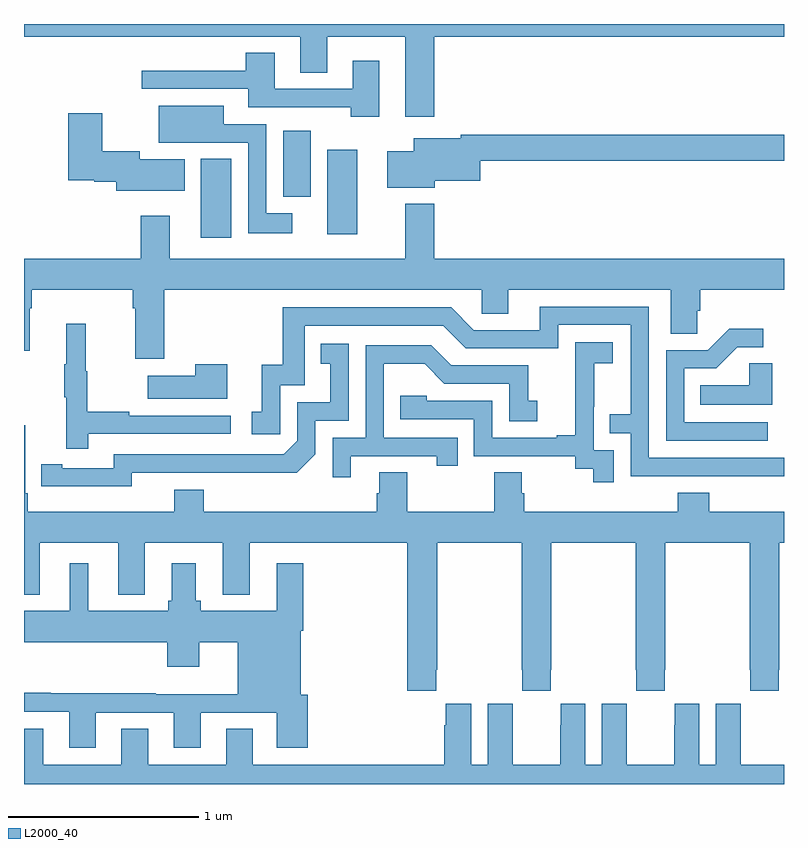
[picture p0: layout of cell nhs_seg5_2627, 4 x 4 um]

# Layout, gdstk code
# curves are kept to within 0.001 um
import gdstk
lib = gdstk.Library(unit=1e-6, precision=1e-09)
def R(c, l, rs):  # rectangles x0, y0, x1, y1
    for r in rs: c.add(gdstk.rectangle(r[:2], r[2:], *l))
def P(c, l, *ps):  # polygons
    for p in ps: c.add(gdstk.Polygon(p, *l))
L2000_40 = (2000, 40)

nhs_seg5_2627 = lib.new_cell('nhs_seg5_2627')
R(nhs_seg5_2627, L2000_40, [(263.93,883.674,264.091,884.089), (264.596,883.692,264.754,884.137), (264.365,883.889,264.508,884.236)])
P(nhs_seg5_2627, L2000_40, [(265.16,884.732),(267,884.732),(267,884.799),(263,884.799),(263,884.732),(264.455,884.732),(264.455,884.542),(264.595,884.542),(264.595,884.732),(265.007,884.732),(265.007,884.31),(265.16,884.31)],
  [(264.871,884.605),(264.731,884.605),(264.731,884.457),(264.319,884.457),(264.319,884.647),(264.167,884.647),(264.167,884.554),(263.619,884.554),(263.619,884.457),(264.179,884.457),(264.179,884.361),(264.719,884.361),(264.719,884.31),(264.871,884.31)],
  [(264.412,883.804),(264.276,883.804),(264.276,884.271),(264.052,884.271),(264.052,884.368),(263.708,884.368),(263.708,884.174),(263.934,884.174),(263.934,884.175),(264.18,884.175),(264.18,883.697),(264.412,883.697)],
  [(263.845,884.086),(263.608,884.086),(263.608,884.129),(263.412,884.129),(263.412,884.329),(263.234,884.329),(263.234,883.976),(263.37,883.976),(263.37,883.969),(263.486,883.969),(263.486,883.922),(263.845,883.922)],
  [(265.162,883.973),(265.402,883.973),(265.402,884.08),(267,884.08),(267,884.216),(265.298,884.216),(265.298,884.197),(265.052,884.197),(265.052,884.128),(264.911,884.128),(264.911,883.937),(265.162,883.937)],
  [(263.738,883.4),(265.41,883.4),(265.41,883.273),(265.549,883.273),(265.549,883.4),(266.405,883.4),(266.405,883.168),(266.544,883.168),(266.544,883.291),(266.558,883.291),(266.558,883.4),(267,883.4),(267,883.564),(265.16,883.564),(265.16,883.852),(265.007,883.852),(265.007,883.564),(263.767,883.564),(263.767,883.789),(263.615,883.789),(263.615,883.564),(263,883.564),(263,883.08),(263.029,883.08),(263.029,883.304),(263.042,883.304),(263.042,883.4),(263.573,883.4),(263.573,883.304),(263.585,883.304),(263.585,883.038),(263.738,883.038)],
  [(267,882.516),(266.289,882.516),(266.289,883.311),(265.715,883.311),(265.715,883.188),(265.368,883.188),(265.248,883.308),(264.361,883.308),(264.361,883.006),(264.251,883.006),(264.251,882.759),(264.198,882.759),(264.198,882.639),(264.348,882.639),(264.348,882.897),(264.477,882.897),(264.477,883.212),(265.206,883.212),(265.326,883.092),(265.812,883.092),(265.812,883.215),(266.193,883.215),(266.193,882.746),(266.083,882.746),(266.083,882.645),(266.193,882.645),(266.193,882.42),(267,882.419)],
  [(263.339,882.642),(264.088,882.642),(264.088,882.738),(263.555,882.738),(263.555,882.758),(263.332,882.758),(263.332,882.972),(263.324,882.972),(263.324,883.222),(263.222,883.222),(263.222,883.009),(263.211,883.009),(263.211,882.835),(263.222,882.835),(263.222,882.564),(263.339,882.564)],
  [(266.914,882.702),(266.475,882.702),(266.475,882.987),(266.644,882.987),(266.755,883.098),(266.89,883.098),(266.89,883.196),(266.711,883.196),(266.598,883.083),(266.379,883.083),(266.379,882.606),(266.914,882.606)],
  [(266.103,882.555),(265.998,882.555),(265.998,882.785),(266,882.785),(266,883.013),(266.098,883.013),(266.098,883.123),(265.9,883.123),(265.9,882.917),(265.901,882.917),(265.901,882.634),(265.805,882.634),(265.805,882.621),(265.464,882.621),(265.464,882.816),(265.119,882.816),(265.119,882.843),(264.979,882.843),(264.979,882.72),(265.368,882.72),(265.368,882.525),(265.902,882.525),(265.902,882.457),(265.995,882.457),(265.995,882.387),(266.103,882.387)],
  [(263.568,882.438),(264.436,882.437),(264.534,882.534),(264.534,882.711),(264.708,882.711),(264.708,883.117),(264.562,883.117),(264.562,883.011),(264.611,883.011),(264.611,882.807),(264.438,882.807),(264.438,882.606),(264.366,882.534),(263.472,882.534),(263.472,882.462),(263.2,882.462),(263.2,882.482),(263.092,882.482),(263.092,882.366),(263.568,882.365)],
  [(264.721,882.525),(265.172,882.525),(265.172,882.474),(265.283,882.474),(265.283,882.621),(264.894,882.621),(264.894,883.01),(265.108,883.01),(265.212,882.906),(265.554,882.906),(265.554,882.708),(265.702,882.708),(265.702,882.817),(265.653,882.817),(265.653,883.002),(265.249,883.002),(265.144,883.107),(264.798,883.107),(264.798,882.621),(264.624,882.621),(264.624,882.414),(264.721,882.414)],
  [(266.938,883.013),(266.817,883.013),(266.817,882.898),(266.56,882.898),(266.56,882.794),(266.938,882.794)],
  [(264.07,883.009),(263.9,883.009),(263.9,882.949),(263.651,882.949),(263.651,882.827),(264.07,882.827)],
  [(265.016,881.289),(265.169,881.289),(265.169,881.401),(265.176,881.401),(265.176,882.068),(265.621,882.068),(265.621,881.401),(265.623,881.401),(265.623,881.289),(265.773,881.289),(265.773,881.401),(265.776,881.401),(265.776,882.068),(266.221,882.068),(266.221,881.401),(266.223,881.401),(266.223,881.289),(266.373,881.289),(266.373,881.401),(266.376,881.401),(266.376,882.068),(266.821,882.068),(266.821,881.401),(266.823,881.401),(266.823,881.289),(266.973,881.289),(266.973,881.401),(266.976,881.401),(266.976,882.068),(267,882.068),(267,882.232),(266.606,882.232),(266.606,882.331),(266.441,882.331),(266.441,882.232),(265.634,882.232),(265.634,882.33),(265.621,882.33),(265.621,882.44),(265.474,882.44),(265.474,882.232),(265.017,882.232),(265.017,882.44),(264.869,882.44),(264.869,882.33),(264.857,882.33),(264.857,882.232),(263.945,882.232),(263.945,882.349),(263.792,882.349),(263.792,882.232),(263.021,882.232),(263.021,882.328),(263.007,882.328),(263.007,882.688),(263,882.688),(263,881.795),(263.083,881.795),(263.083,882.068),(263.495,882.068),(263.495,881.795),(263.635,881.795),(263.635,882.068),(264.047,882.068),(264.047,881.795),(264.187,881.795),(264.187,882.068),(265.016,882.068)],
  [(263.377,881.175),(263.789,881.175),(263.789,880.989),(263.929,880.989),(263.929,881.175),(264.329,881.175),(264.329,880.989),(264.494,880.989),(264.494,881.268),(264.457,881.268),(264.457,881.606),(264.47,881.606),(264.47,881.962),(264.329,881.962),(264.329,881.71),(263.931,881.71),(263.931,881.763),(263.905,881.763),(263.905,881.962),(263.777,881.962),(263.777,881.763),(263.758,881.763),(263.758,881.71),(263.338,881.71),(263.338,881.962),(263.24,881.962),(263.24,881.71),(263,881.71),(263,881.546),(263.753,881.546),(263.753,881.415),(263.923,881.415),(263.923,881.546),(264.125,881.546),(264.125,881.272),(263.693,881.272),(263.693,881.276),(263.141,881.276),(263.141,881.279),(263,881.279),(263,881.178),(263.237,881.178),(263.237,880.989),(263.377,880.989)],
  [(264.065,881.09),(264.065,880.9),(263.653,880.9),(263.653,881.09),(263.513,881.09),(263.513,880.9),(263.101,880.9),(263.101,881.09),(263,881.09),(263,880.799),(267,880.799),(267,880.9),(266.773,880.9),(266.773,881.108),(266.772,881.108),(266.772,881.221),(266.642,881.221),(266.642,880.9),(266.554,880.9),(266.554,881.221),(266.424,881.221),(266.424,881.108),(266.423,881.108),(266.423,880.9),(266.173,880.9),(266.173,881.108),(266.172,881.108),(266.172,881.221),(266.042,881.221),(266.042,880.9),(265.954,880.9),(265.954,881.221),(265.824,881.221),(265.824,881.108),(265.823,881.108),(265.823,880.9),(265.573,880.9),(265.573,881.108),(265.572,881.108),(265.572,881.221),(265.442,881.221),(265.442,880.9),(265.354,880.9),(265.354,881.221),(265.22,881.221),(265.22,881.108),(265.211,881.108),(265.211,880.9),(264.205,880.9),(264.205,881.09)])

lib.write_gds('nhs_seg5_2627.gds')
